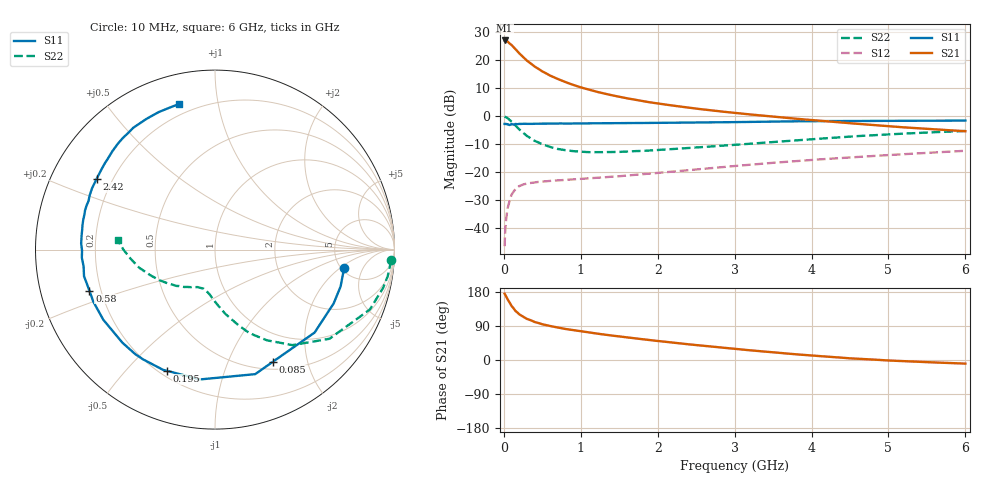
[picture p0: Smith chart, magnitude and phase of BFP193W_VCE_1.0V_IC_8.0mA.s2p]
! Infineon Technologies  Discrete & RF Semiconductors
! BFP193W
! VCE = 1.0 V,  IC =  8.0 mA
! Common Emitter S-Parameters:  Jan 2016
# GHz  S  MA  R  50
!  f  S11  S21  S12  S22
! GHz  MAG  ANG  MAG  ANG  MAG  ANG  MAG  ANG
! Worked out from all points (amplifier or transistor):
!   210 points, 10 MHz to 6 GHz, reference 50 ohm
!   highest |S21| = 27.1 dB at 10 MHz (marker M1)
!   |S21| within 3 dB of that: start of sweep to 147.3 MHz
!   unconditionally stable (mu >= 1): 1.344 GHz to 5.736 GHz
!   at 185 MHz: K = 0.19, MSG = 24.2 dB, |S12| = -25.4 dB
!   at 1.52 GHz: K = 1.07, MAG = 12.6 dB, |S12| = -21.5 dB
!   at 6 GHz: K = 0.98, MSG = 3.5 dB, |S12| = -12.4 dB
!   S11 on the Smith chart (normalised r, x): 10 MHz: 5.32, -2.28; 85 MHz: 0.60, -1.47; 195 MHz: 0.23, -0.65; 580 MHz: 0.16, -0.16; 2.42 GHz: 0.14, +0.27; 6 GHz: 0.14, +0.77
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0.01  0.7269 -8.0  22.77 175.0  0.0047 87.2  0.9836 -3.5
0.02  0.7293 -16.4  22.73 171.6  0.0097 84.2  0.9735 -8.8
0.03  0.726 -24.4  22.54 167.6  0.0142 78.8  0.9602 -12.9
0.05  0.7222 -39.8  21.72 159.5  0.0227 71.9  0.9253 -21.1
0.085  0.7031 -62.6  19.57 148.2  0.0341 59.9  0.8356 -32.4
0.1  0.7291 -72.1  18.91 142.7  0.0392 56.9  0.8085 -37.9
0.15  0.728 -96.5  15.98 129.7  0.0496 46.4  0.6848 -51.0
0.195  0.7267 -111.7  13.65 121.7  0.0553 40.3  0.592 -59.1
0.24  0.7311 -123.2  11.86 115.3  0.0591 35.9  0.5209 -65.7
0.3  0.7315 -134.9  9.904 108.4  0.0623 31.9  0.4434 -72.6
0.4  0.7348 -147.9  7.77 100.3  0.0654 28.2  0.3631 -80.8
0.5  0.7374 -156.8  6.357 94.3  0.0677 26.7  0.3139 -86.6
0.58  0.7361 -161.9  5.554 90.7  0.0691 26.1  0.2877 -90.4
0.8  0.738 -172.8  4.079 81.9  0.0722 26.6  0.2459 -98.3
1.02  0.7418 179.8  3.228 75.2  0.0757 28.3  0.2305 -104.5
1.4  0.7507 169.8  2.382 64.6  0.0825 32.0  0.2288 -112.4
2.02  0.7609 156.6  1.678 49.8  0.097 37.5  0.2497 -123.1
2.42  0.7686 149.2  1.41 41.0  0.1084 39.7  0.2714 -130.0
3.1  0.7877 137.7  1.11 27.6  0.1318 41.0  0.314 -142.2
4.1  0.8176 122.7  0.832 10.4  0.1684 39.0  0.3952 -160.0
5.1  0.828 111.5  0.646 -2.1  0.2052 34.8  0.4809 -175.3
6  0.8354 103.9  0.539 -9.5  0.2404 30.4  0.5443 174.5
